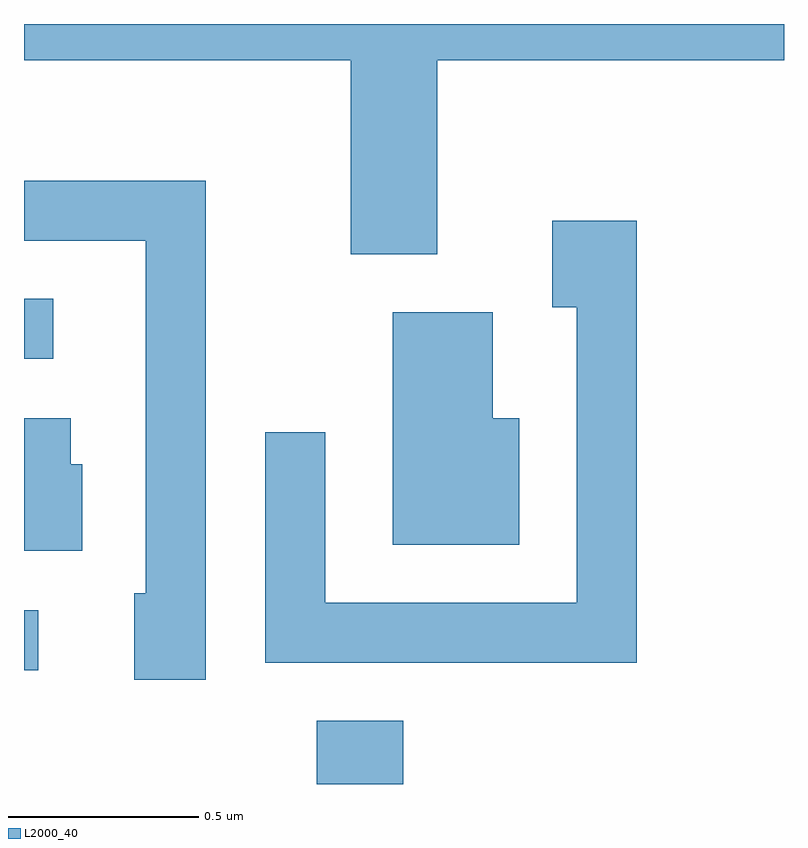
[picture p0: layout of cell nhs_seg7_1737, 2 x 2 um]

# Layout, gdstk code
import gdstk
lib = gdstk.Library(unit=1e-6, precision=1e-09)
def R(c, l, rs):  # rectangles x0, y0, x1, y1
    for r in rs: c.add(gdstk.rectangle(r[:2], r[2:], *l))
def P(c, l, *ps):  # polygons
    for p in ps: c.add(gdstk.Polygon(p, *l))
L2000_40 = (2000, 40)

nhs_seg7_1737 = lib.new_cell('nhs_seg7_1737')
R(nhs_seg7_1737, L2000_40, [(198.381,1761.252,198.609,1761.419), (197.611,1761.551,197.648,1761.709), (197.611,1762.371,197.688,1762.529)])
P(nhs_seg7_1737, L2000_40, [(198.699,1763.156),(199.611,1763.156),(199.611,1763.252),(197.611,1763.252),(197.611,1763.156),(198.471,1763.156),(198.471,1762.646),(198.699,1762.646)],
  [(198.089,1762.839),(197.611,1762.839),(197.611,1762.681),(197.931,1762.681),(197.931,1761.754),(197.901,1761.754),(197.901,1761.526),(198.089,1761.526)],
  [(199.224,1762.734),(199.001,1762.734),(199.001,1762.506),(199.066,1762.506),(199.066,1761.729),(198.404,1761.729),(198.404,1762.178),(198.246,1762.178),(198.246,1761.571),(199.224,1761.571)],
  [(198.914,1762.214),(198.844,1762.214),(198.844,1762.494),(198.581,1762.494),(198.581,1761.881),(198.914,1761.881)],
  [(197.764,1762.094),(197.734,1762.094),(197.734,1762.214),(197.611,1762.214),(197.611,1761.866),(197.764,1761.866)])

lib.write_gds('nhs_seg7_1737.gds')
